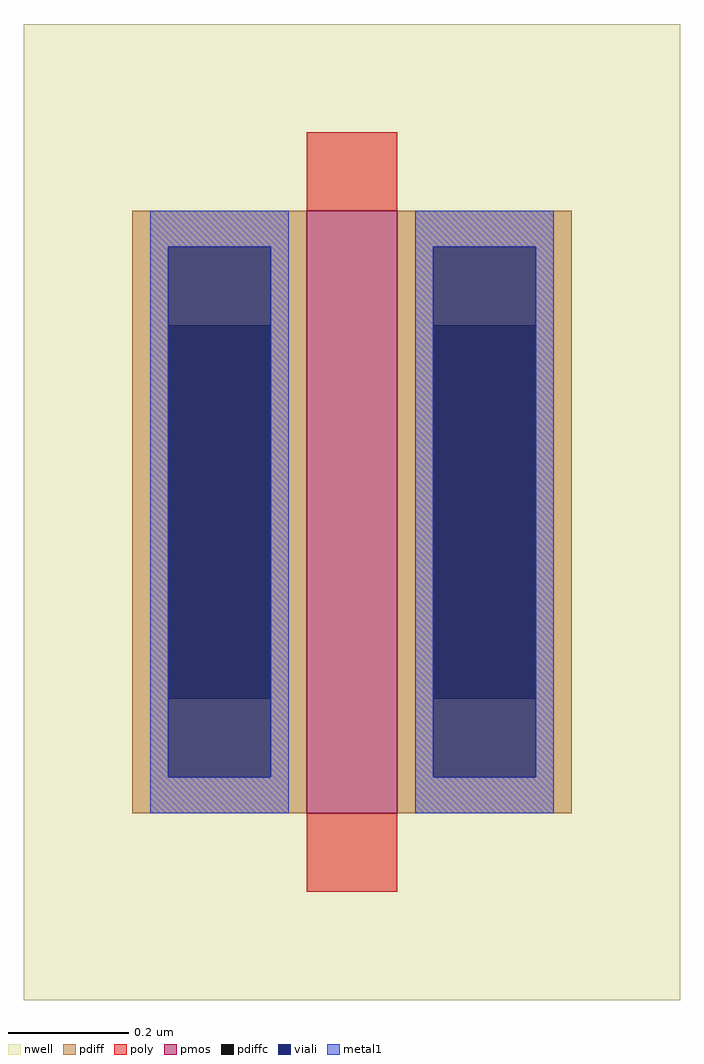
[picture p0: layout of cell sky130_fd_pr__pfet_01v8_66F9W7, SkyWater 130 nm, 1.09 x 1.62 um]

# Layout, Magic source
magic
tech sky130A
magscale 1 2
<< nwell >>
rect -109 -162 109 162
<< pmos >>
rect -15 -100 15 100
<< pdiff >>
rect -73 62 -15 100
rect -73 -62 -61 62
rect -27 -62 -15 62
rect -73 -100 -15 -62
rect 15 62 73 100
rect 15 -62 27 62
rect 61 -62 73 62
rect 15 -100 73 -62
<< pdiffc >>
rect -61 -62 -27 62
rect 27 -62 61 62
<< poly >>
rect -15 100 15 126
rect -15 -126 15 -100
<< viali >>
rect -61 62 -27 88
rect -61 -62 -27 62
rect -61 -88 -27 -62
rect 27 62 61 88
rect 27 -62 61 62
rect 27 -88 61 -62
<< metal1 >>
rect -67 88 -21 100
rect -67 -88 -61 88
rect -27 -88 -21 88
rect -67 -100 -21 -88
rect 21 88 67 100
rect 21 -88 27 88
rect 61 -88 67 88
rect 21 -100 67 -88
<< properties >>
string gencell sky130_fd_pr__pfet_01v8
string library sky130
string parameters w 1 l 0.15 m 1 nf 1 diffcov 70 polycov 70 guard 0 glc 0 grc 0 gtc 0 gbc 0 tbcov 70 rlcov 70 topc 0 botc 0 poverlap 0 doverlap 1 lmin 0.15 wmin 0.42 compatible {sky130_fd_pr__pfet_01v8  sky130_fd_pr__pfet_01v8_lvt sky130_fd_pr__pfet_01v8_hvt  sky130_fd_pr__pfet_g5v0d10v5} full_metal 0 viasrc 100 viadrn 100 viagate 100 viagb 0 viagr 0 viagl 0 viagt 0
<< end >>
